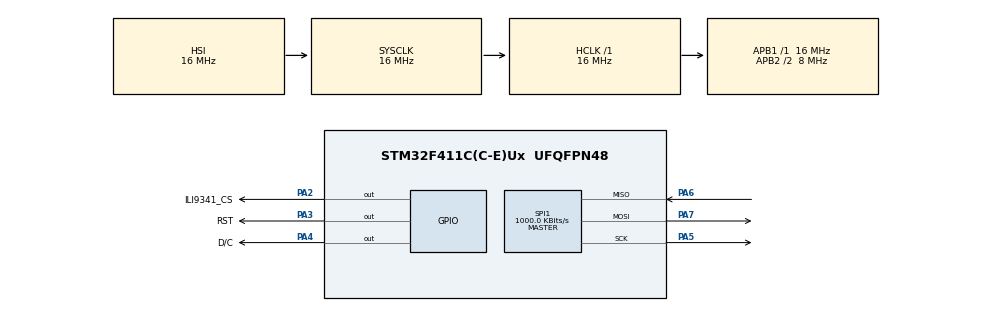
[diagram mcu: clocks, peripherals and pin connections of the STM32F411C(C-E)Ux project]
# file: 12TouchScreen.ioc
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Mcu.Family=STM32F4
Mcu.Name=STM32F411C(C-E)Ux
Mcu.Package=UFQFPN48
NVIC.PriorityGroup=NVIC_PRIORITYGROUP_4
PA2.GPIO_Label=ILI9341_CS
PA2.PinState=GPIO_PIN_SET
PA2.Signal=GPIO_Output
PA3.GPIO_Label=RST
PA3.Signal=GPIO_Output
PA4.GPIO_Label=D/C
PA4.Signal=GPIO_Output
PA5.Mode=Full_Duplex_Master
PA5.Signal=SPI1_SCK
PA6.Mode=Full_Duplex_Master
PA6.Signal=SPI1_MISO
PA7.Mode=Full_Duplex_Master
PA7.Signal=SPI1_MOSI
ProjectManager.HeapSize=0x200
ProjectManager.StackSize=0x400
ProjectManager.TargetToolchain=CMake
RCC.AHBFreq_Value=16000000
RCC.APB1Freq_Value=16000000
RCC.APB2CLKDivider=RCC_HCLK_DIV2
RCC.APB2Freq_Value=8000000
RCC.APB2TimFreq_Value=16000000
RCC.CortexFreq_Value=16000000
RCC.HSE_VALUE=25000000
RCC.HSI_VALUE=16000000
RCC.LSE_VALUE=32768
RCC.SYSCLKFreq_VALUE=16000000
RCC.VCOOutputFreq_Value=192000000
SPI1.BaudRatePrescaler=SPI_BAUDRATEPRESCALER_8
SPI1.CalculateBaudRate=1000.0 KBits/s
SPI1.Direction=SPI_DIRECTION_2LINES
SPI1.Mode=SPI_MODE_MASTER
SPI1.VirtualType=VM_MASTER
board=custom

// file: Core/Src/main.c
/* USER CODE BEGIN Header */
/**
  ******************************************************************************
  * @file           : main.c
  * @brief          : Main program body
  ******************************************************************************
  * @attention
  *
  * Copyright (c) 2026 STMicroelectronics.
  * All rights reserved.
  *
  * This software is licensed under terms that can be found in the LICENSE file
  * in the root directory of this software component.
  * If no LICENSE file comes with this software, it is provided AS-IS.
  *
  ******************************************************************************
  */
/* USER CODE END Header */
#include "main.h"

/* USER CODE BEGIN Includes */
#include <string.h>
#include <stdarg.h>
#include "ili9341.h"
#include "ili9341_touch.h"
#include "fonts.h"

/* USER CODE END Includes */

SPI_HandleTypeDef hspi1;

void SystemClock_Config(void);
static void MX_GPIO_Init(void);
static void MX_SPI1_Init(void);
/* USER CODE BEGIN PFP */
void init() {
    ILI9341_Unselect();
    ILI9341_TouchUnselect();
    ILI9341_Init();
}
/* USER CODE END PFP */

int main(void)
{

  /* MCU Configuration--------------------------------------------------------*/

  /* Reset of all peripherals, Initializes the Flash interface and the Systick. */
  HAL_Init();

  /* Configure the system clock */
  SystemClock_Config();

  /* Initialize all configured peripherals */
  MX_GPIO_Init();
  MX_SPI1_Init();
  /* USER CODE BEGIN 2 */
  init();
  ILI9341_FillScreen(ILI9341_BLACK);

  uint16_t touchX;
  uint16_t touchY;

    uint16_t lastX = 0;
    uint16_t lastY = 0;
  ILI9341_WriteString(0, 3*10, "El juanpedrorodriguez", Font_11x18, ILI9341_GREEN, ILI9341_BLACK);

  /* USER CODE END 2 */

  /* Infinite loop */
  while (1)
  {

    /* USER CODE BEGIN 3 */

    if (ILI9341_TouchPressed())
    {
        if (ILI9341_TouchGetCoordinates(&touchX, &touchY))
        {
        // Borra el punto anterior (opcional)
        ILI9341_FillCircle(lastX, lastY, 4, ILI9341_BLACK);

        // Dibuja el nuevo
        ILI9341_FillCircle(touchX, touchY, 4, ILI9341_RED);

        lastX = touchX;
        lastY = touchY;
    }
}

  }
  /* USER CODE END 3 */
}

void SystemClock_Config(void)
{
  RCC_OscInitTypeDef RCC_OscInitStruct = {0};
  RCC_ClkInitTypeDef RCC_ClkInitStruct = {0};

  /** Configure the main internal regulator output voltage
  */
  __HAL_RCC_PWR_CLK_ENABLE();
  __HAL_PWR_VOLTAGESCALING_CONFIG(PWR_REGULATOR_VOLTAGE_SCALE1);

  /** Initializes the RCC Oscillators according to the specified parameters
  * in the RCC_OscInitTypeDef structure.
  */
  RCC_OscInitStruct.OscillatorType = RCC_OSCILLATORTYPE_HSI;
  RCC_OscInitStruct.HSIState = RCC_HSI_ON;
  RCC_OscInitStruct.HSICalibrationValue = RCC_HSICALIBRATION_DEFAULT;
  RCC_OscInitStruct.PLL.PLLState = RCC_PLL_NONE;
  if (HAL_RCC_OscConfig(&RCC_OscInitStruct) != HAL_OK)
  {
    Error_Handler();
  }

  /** Initializes the CPU, AHB and APB buses clocks
  */
  RCC_ClkInitStruct.ClockType = RCC_CLOCKTYPE_HCLK|RCC_CLOCKTYPE_SYSCLK
                              |RCC_CLOCKTYPE_PCLK1|RCC_CLOCKTYPE_PCLK2;
  RCC_ClkInitStruct.SYSCLKSource = RCC_SYSCLKSOURCE_HSI;
  RCC_ClkInitStruct.AHBCLKDivider = RCC_SYSCLK_DIV1;
  RCC_ClkInitStruct.APB1CLKDivider = RCC_HCLK_DIV1;
  RCC_ClkInitStruct.APB2CLKDivider = RCC_HCLK_DIV2;

  if (HAL_RCC_ClockConfig(&RCC_ClkInitStruct, FLASH_LATENCY_0) != HAL_OK)
  {
    Error_Handler();
  }
}

static void MX_SPI1_Init(void)
{

  /* SPI1 parameter configuration*/
  hspi1.Instance = SPI1;
  hspi1.Init.Mode = SPI_MODE_MASTER;
  hspi1.Init.Direction = SPI_DIRECTION_2LINES;
  hspi1.Init.DataSize = SPI_DATASIZE_8BIT;
  hspi1.Init.CLKPolarity = SPI_POLARITY_LOW;
  hspi1.Init.CLKPhase = SPI_PHASE_1EDGE;
  hspi1.Init.NSS = SPI_NSS_SOFT;
  hspi1.Init.BaudRatePrescaler = SPI_BAUDRATEPRESCALER_8;
  hspi1.Init.FirstBit = SPI_FIRSTBIT_MSB;
  hspi1.Init.TIMode = SPI_TIMODE_DISABLE;
  hspi1.Init.CRCCalculation = SPI_CRCCALCULATION_DISABLE;
  hspi1.Init.CRCPolynomial = 10;
  if (HAL_SPI_Init(&hspi1) != HAL_OK)
  {
    Error_Handler();
  }

}

static void MX_GPIO_Init(void)
{
  GPIO_InitTypeDef GPIO_InitStruct = {0};

  /* GPIO Ports Clock Enable */
  __HAL_RCC_GPIOA_CLK_ENABLE();

  /*Configure GPIO pin Output Level */
  HAL_GPIO_WritePin(ILI9341_CS_GPIO_Port, ILI9341_CS_Pin, GPIO_PIN_SET);

  /*Configure GPIO pin Output Level */
  HAL_GPIO_WritePin(GPIOA, RST_Pin|D_C_Pin, GPIO_PIN_RESET);

  /*Configure GPIO pins : ILI9341_CS_Pin RST_Pin D_C_Pin */
  GPIO_InitStruct.Pin = ILI9341_CS_Pin|RST_Pin|D_C_Pin;
  GPIO_InitStruct.Mode = GPIO_MODE_OUTPUT_PP;
  GPIO_InitStruct.Pull = GPIO_NOPULL;
  GPIO_InitStruct.Speed = GPIO_SPEED_FREQ_LOW;
  HAL_GPIO_Init(GPIOA, &GPIO_InitStruct);

  /* USER CODE BEGIN MX_GPIO_Init_2 */
  /* Touch CS */
  GPIO_InitStruct.Pin = ILI9341_TOUCH_CS_Pin;
  GPIO_InitStruct.Mode = GPIO_MODE_OUTPUT_PP;
  GPIO_InitStruct.Pull = GPIO_NOPULL;
  GPIO_InitStruct.Speed = GPIO_SPEED_FREQ_HIGH;
  HAL_GPIO_Init(ILI9341_TOUCH_CS_GPIO_Port, &GPIO_InitStruct);

  HAL_GPIO_WritePin(ILI9341_TOUCH_CS_GPIO_Port,
                    ILI9341_TOUCH_CS_Pin,
                    GPIO_PIN_SET);

  /* Touch IRQ */
  GPIO_InitStruct.Pin = ILI9341_TOUCH_IRQ_Pin;
  GPIO_InitStruct.Mode = GPIO_MODE_INPUT;
  GPIO_InitStruct.Pull = GPIO_PULLUP;      // prueba primero con PULLUP
  HAL_GPIO_Init(ILI9341_TOUCH_IRQ_GPIO_Port, &GPIO_InitStruct);
  /* USER CODE END MX_GPIO_Init_2 */
}

void Error_Handler(void)
{
  __disable_irq();
  while (1)
  {
  }
}
